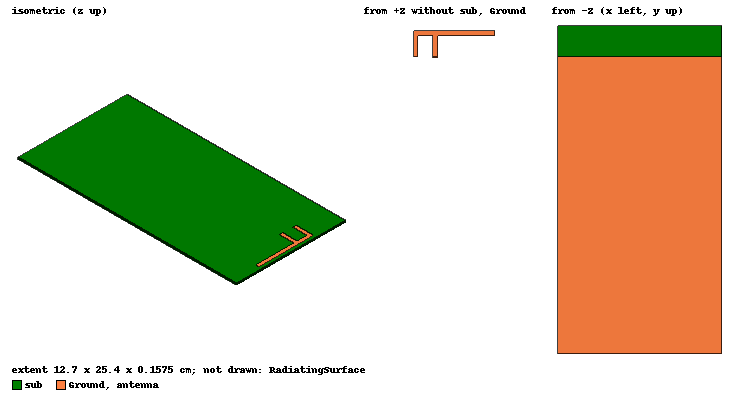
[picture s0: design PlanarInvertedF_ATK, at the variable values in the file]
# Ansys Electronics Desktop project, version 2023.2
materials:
  vacuum: permittivity=1
  FR4_epoxy: permittivity=4.4 dielectric_loss_tangent=0.02

design PlanarInvertedF_ATK (HFSS, HFSS Hybrid Terminal Network, model units cm)
options: Allow_Material_Override Save_Adaptive_support_files open_region{BoundaryType=0 OpFreq=0.915GHz}
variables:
  # --Antenna Dimensions
  Length1 = 6.32cm
  Length2 = 2.03cm
  Antenna_Trace_Width = 0.38cm
  Antenna_Offset = 1.14cm
  # --Substrate Dimensions
  subH = 0.1575cm
  subX = 12.7cm
  subY = 25.4cm
  # --Feed Dimensions
  Feed_Offset = -1.27cm
  Feed_Length = 0.038cm
  Feed_Width = 0.381cm
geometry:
  sub [FR4_epoxy] = box(corner=(-subX/2, -subY+Length2+Antenna_Trace_Width, 0cm), size=(subX, subY, -subH))
  Ground = rectangle(corner=(-subX/2, -subY+Length2+Antenna_Trace_Width, -subH), x_size=subX, y_size=subY-(Length2+Antenna_Trace_Width))
  NewObject_BO4UIK = rectangle(corner=(-Antenna_Trace_Width/2+Feed_Offset, 0cm, 0cm), x_size=Antenna_Trace_Width, y_size=Length2)
  NewObject_ULR0GW = rectangle(corner=(-Antenna_Trace_Width/2-Antenna_Offset+Feed_Offset, 0cm, 0cm), x_size=-Antenna_Trace_Width, y_size=Length2)
  NewObject_PCAG1R = rectangle(corner=(-Antenna_Trace_Width/2-Antenna_Offset+Feed_Offset, 0cm, 0cm), z_size=-subH, x_size=-Antenna_Trace_Width)
  antenna = rectangle(corner=(-Antenna_Trace_Width/2-Antenna_Offset-Antenna_Trace_Width+Feed_Offset, Length2, 0cm), x_size=Length1, y_size=-Antenna_Trace_Width)
  antenna.unite(NewObject_ULR0GW, NewObject_BO4UIK, NewObject_PCAG1R)
  microstrip_feed = rectangle(corner=(-Feed_Width/2+Feed_Offset, 0cm, 0cm), x_size=Feed_Width, y_size=-Feed_Length)
  port1 = rectangle(corner=(-Feed_Width/2+Feed_Offset, -Feed_Length, 0cm), z_size=-subH, x_size=Feed_Width)
  RadiatingSurface [vacuum] = region(absolute_offset=10.928962cm on all sides)
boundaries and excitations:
  antennaMetal: Perfect E Objects=antenna
  groundMetal: Perfect E Objects=Ground
  feedMetal: Perfect E Objects=microstrip_feed
  AutoOpen1: Radiation Objects=RadiatingSurface
  microstrip_feed_T1: Terminal port=1 Edges=microstrip_feed.edge(at (-1.27, -0.038, 0)) TerminalResistance=50ohm
  1: Lumped Port Faces=port1.face LumpedPortType=Terminal Impedance=50ohm
  reference conductors: Ground
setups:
  ATK_Solution: HfssDriven Frequency=0.915GHz MaxDeltaS=0.02 MaximumPasses=15 MinimumPasses=1 MinimumConvergedPasses=1 PercentRefinement=30 BasisOrder=1 PortAccuracy=2 DrivenSolverType="Direct Solver" IESolverType=ACA
    sweep FF_Sweep: 0.4575GHz to 1.3725GHz, 3 points; Type=Discrete SaveFields
    sweep SParam_Sweep: 0.4575GHz to 1.3725GHz, 100 points; Type=Interpolating InterpTolerance=0.5 InterpMaxSolns=250 PassivityErrorTolerance=0.0001
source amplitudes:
  1:1: 1V 0deg
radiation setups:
  3D: Infinite Sphere Theta=0deg..180deg step 2deg Phi=-180deg..180deg step 2deg
  Elevation: Infinite Sphere Theta=-180deg..180deg step 1deg Phi=0deg..90deg step 90deg
  Azimuth: Infinite Sphere Theta=90deg..90deg step 0deg Phi=-180deg..180deg step 1deg
  ATK_2D: Infinite Sphere Theta=-180deg..180deg step 1deg Phi=0deg..90deg step 90deg
  ATK_3D: Infinite Sphere Theta=-180deg..180deg step 2deg Phi=0deg..180deg step 5deg
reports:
  ff_3D_GainTotal: dB(GainTotal) vs Phi, Theta on ATK_Solution : LastAdaptive, ATK_3D [Freq=9.15e+08]
  ff_2D_GainTotal: dB(GainTotal) vs Theta on ATK_Solution : LastAdaptive, ATK_2D [Phi=all Freq=9.15e+08]
  ff_2D_GainTotal_Stacked: dB(GainTotal) vs Theta on ATK_Solution : FF_Sweep, ATK_2D [Phi=all Freq=all]
  Return Loss: dB(St11) vs Freq on ATK_Solution : SParam_Sweep
  Input Impedance: St11 on ATK_Solution : SParam_Sweep [Freq=all]
  Terminal S Parameter Plot 1: dB(St(microstrip_feed_T1,microstrip_feed_T1)) vs Freq on ATK_Solution : FF_Sweep
  Gain Plot 1: dB(GainTotal) vs Phi, Theta on ATK_Solution : LastAdaptive, 3D [Freq=0.915GHz]
  Input Impedance_1: St11
  Gain Plot 2: dB(GainTotal) vs Theta on ATK_Solution : LastAdaptive, 3D [Phi=all Freq=0.915GHz]
